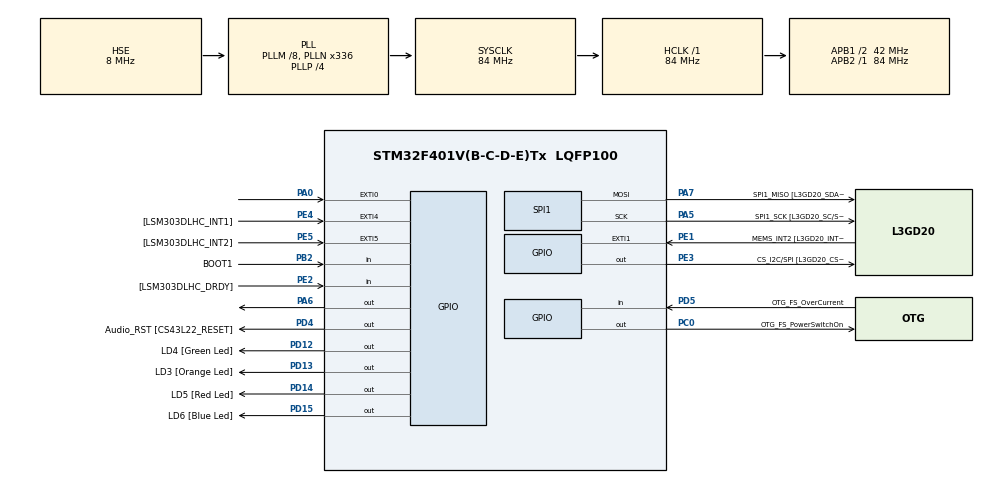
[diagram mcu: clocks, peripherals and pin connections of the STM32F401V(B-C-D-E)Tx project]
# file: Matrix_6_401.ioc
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Mcu.Family=STM32F4
Mcu.Name=STM32F401V(B-C-D-E)Tx
Mcu.Package=LQFP100
NVIC.EXTI0_IRQn=true\:1\:0\:true
NVIC.PriorityGroup=NVIC_PRIORITYGROUP_4
NVIC.TIM1_BRK_TIM9_IRQn=true\:1\:0\:true
NVIC.TIM1_TRG_COM_TIM11_IRQn=true\:2\:0\:true
NVIC.TIM1_UP_TIM10_IRQn=true\:3\:0\:true
PA0-WKUP.GPIO_ModeDefaultEXTI=GPIO_MODE_IT_RISING
PA0-WKUP.GPIO_PuPd=GPIO_NOPULL
PA0-WKUP.Signal=GPXTI0
PA10.GPIO_Label=OTG_FS_ID
PA10.GPIO_Mode=GPIO_MODE_AF_PP
PA10.GPIO_PuPd=GPIO_NOPULL
PA10.GPIO_Speed=GPIO_SPEED_LOW
PA10.Signal=USB_OTG_FS_ID
PA11.GPIO_Label=OTG_FS_DM
PA11.GPIO_Mode=GPIO_MODE_AF_PP
PA11.GPIO_PuPd=GPIO_NOPULL
PA11.GPIO_Speed=GPIO_SPEED_LOW
PA11.Signal=USB_OTG_FS_DM
PA12.GPIO_Label=OTG_FS_DP
PA12.GPIO_Mode=GPIO_MODE_AF_PP
PA12.GPIO_PuPd=GPIO_NOPULL
PA12.GPIO_Speed=GPIO_SPEED_LOW
PA12.Signal=USB_OTG_FS_DP
PA13.GPIO_Label=SWDIO
PA13.Mode=Trace-Asynchronous_SW
PA13.Signal=SYS_JTMS-SWDIO
PA14.GPIO_Label=SWCLK
PA14.Mode=Trace-Asynchronous_SW
PA14.Signal=SYS_JTCK-SWCLK
PA4.GPIO_Label=I2S3_WS [CS43L22_LRCK]
PA4.GPIO_Mode=GPIO_MODE_AF_PP
PA4.GPIO_PuPd=GPIO_NOPULL
PA4.GPIO_Speed=GPIO_SPEED_LOW
PA4.Signal=I2S3_WS
PA5.GPIO_Label=SPI1_SCK [L3GD20_SC/SPC]
PA5.GPIO_Mode=GPIO_MODE_AF_PP
PA5.GPIO_PuPd=GPIO_NOPULL
PA5.GPIO_Speed=GPIO_SPEED_LOW
PA5.Mode=TX_Only_Simplex_Unidirect_Master
PA5.Signal=SPI1_SCK
PA6.Signal=GPIO_Output
PA7.GPIO_Label=SPI1_MISO [L3GD20_SDA/SDI/SDO]
PA7.GPIO_Mode=GPIO_MODE_AF_PP
PA7.GPIO_PuPd=GPIO_NOPULL
PA7.GPIO_Speed=GPIO_SPEED_LOW
PA7.Mode=TX_Only_Simplex_Unidirect_Master
PA7.Signal=SPI1_MOSI
PA9.GPIO_Label=VBUS_FS
PA9.GPIO_Mode=GPIO_MODE_INPUT
PA9.GPIO_PuPd=GPIO_NOPULL
PA9.Signal=USB_OTG_FS_VBUS
PB10.GPIO_Label=CLK_IN [MP45DT02_CLK]
PB10.GPIO_Mode=GPIO_MODE_AF_PP
PB10.GPIO_PuPd=GPIO_NOPULL
PB10.GPIO_Speed=GPIO_SPEED_LOW
PB10.Signal=I2S2_CK
PB12.Signal=I2S2_WS
PB2/BOOT1.GPIO_Label=BOOT1
PB2/BOOT1.GPIO_Mode=GPIO_MODE_INPUT
PB2/BOOT1.GPIO_PuPd=GPIO_NOPULL
PB2/BOOT1.Signal=GPIO_Input
PB3.GPIO_Label=SWO
PB3.Mode=Trace-Asynchronous_SW
PB3.Signal=SYS_JTDO-SWO
PB6.GPIO_Label=Audio_SCL [CS43L22_SCL]
PB6.GPIO_Mode=GPIO_MODE_AF_OD
PB6.GPIO_PuPd=GPIO_NOPULL
PB6.GPIO_PuPdOD=GPIO_PULLUP
PB6.GPIO_Speed=GPIO_SPEED_LOW
PB6.Signal=I2C1_SCL
PB9.GPIO_Label=Audio_SDA [CS43L22_SDA]
PB9.GPIO_Mode=GPIO_MODE_AF_OD
PB9.GPIO_PuPd=GPIO_NOPULL
PB9.GPIO_PuPdOD=GPIO_PULLUP
PB9.GPIO_Speed=GPIO_SPEED_LOW
PB9.Signal=I2C1_SDA
PC0.GPIO_Label=OTG_FS_PowerSwitchOn
PC0.GPIO_ModeDefaultOutputPP=GPIO_MODE_OUTPUT_PP
PC0.GPIO_PuPd=GPIO_NOPULL
PC0.GPIO_Speed=GPIO_SPEED_LOW
PC0.Signal=GPIO_Output
PC10.GPIO_Label=I2S3_SCK [CS43L22_SCLK]
PC10.GPIO_Mode=GPIO_MODE_AF_PP
PC10.GPIO_PuPd=GPIO_NOPULL
PC10.GPIO_Speed=GPIO_SPEED_LOW
PC10.Signal=I2S3_CK
PC12.GPIO_Label=I2S3_SD [CS43L22_SDIN]
PC12.GPIO_Mode=GPIO_MODE_AF_PP
PC12.GPIO_PuPd=GPIO_NOPULL
PC12.GPIO_Speed=GPIO_SPEED_LOW
PC12.Signal=I2S3_SD
PC14-OSC32_IN.GPIO_Label=PC14-OSC32_IN
PC14-OSC32_IN.Signal=RCC_OSC32_IN
PC15-OSC32_OUT.GPIO_Label=PC15-OSC32_OUT
PC15-OSC32_OUT.Signal=RCC_OSC32_OUT
PC3.GPIO_Label=PDM_OUT [MP45DT02_DOUT]
PC3.GPIO_Mode=GPIO_MODE_AF_PP
PC3.GPIO_PuPd=GPIO_NOPULL
PC3.GPIO_Speed=GPIO_SPEED_LOW
PC3.Signal=I2S2_SD
PC7.GPIO_Label=I2S3_MCK [CS43L22_MCLK]
PC7.GPIO_Mode=GPIO_MODE_AF_PP
PC7.GPIO_PuPd=GPIO_NOPULL
PC7.GPIO_Speed=GPIO_SPEED_LOW
PC7.Signal=I2S3_MCK
PD12.GPIO_Label=LD4 [Green Led]
PD12.GPIO_ModeDefaultOutputPP=GPIO_MODE_OUTPUT_PP
PD12.GPIO_PuPd=GPIO_NOPULL
PD12.GPIO_Speed=GPIO_SPEED_LOW
PD12.Signal=GPIO_Output
PD13.GPIO_Label=LD3 [Orange Led]
PD13.GPIO_ModeDefaultOutputPP=GPIO_MODE_OUTPUT_PP
PD13.GPIO_PuPd=GPIO_NOPULL
PD13.GPIO_Speed=GPIO_SPEED_LOW
PD13.Signal=GPIO_Output
PD14.GPIO_Label=LD5 [Red Led]
PD14.GPIO_ModeDefaultOutputPP=GPIO_MODE_OUTPUT_PP
PD14.GPIO_PuPd=GPIO_NOPULL
PD14.GPIO_Speed=GPIO_SPEED_LOW
PD14.Signal=GPIO_Output
PD15.GPIO_Label=LD6 [Blue Led]
PD15.GPIO_ModeDefaultOutputPP=GPIO_MODE_OUTPUT_PP
PD15.GPIO_PuPd=GPIO_NOPULL
PD15.GPIO_Speed=GPIO_SPEED_LOW
PD15.Signal=GPIO_Output
PD4.GPIO_Label=Audio_RST [CS43L22_RESET]
PD4.GPIO_ModeDefaultOutputPP=GPIO_MODE_OUTPUT_PP
PD4.GPIO_PuPd=GPIO_NOPULL
PD4.GPIO_Speed=GPIO_SPEED_LOW
PD4.Signal=GPIO_Output
PD5.GPIO_Label=OTG_FS_OverCurrent
PD5.GPIO_Mode=GPIO_MODE_INPUT
PD5.GPIO_PuPd=GPIO_NOPULL
PD5.Signal=GPIO_Input
PE1.GPIO_Label=MEMS_INT2 [L3GD20_INT2]
PE1.GPIO_ModeDefaultEXTI=GPIO_MODE_EVT_RISING
PE1.GPIO_PuPd=GPIO_NOPULL
PE1.Signal=GPXTI1
PE2.GPIO_Label=[LSM303DLHC_DRDY]
PE2.GPIO_Mode=GPIO_MODE_INPUT
PE2.GPIO_PuPd=GPIO_NOPULL
PE2.Signal=GPIO_Input
PE3.GPIO_Label=CS_I2C/SPI [L3GD20_CS_I2C/SPI]
PE3.GPIO_ModeDefaultOutputPP=GPIO_MODE_OUTPUT_PP
PE3.GPIO_PuPd=GPIO_NOPULL
PE3.GPIO_Speed=GPIO_SPEED_LOW
PE3.Signal=GPIO_Output
PE4.GPIO_Label=[LSM303DLHC_INT1]
PE4.GPIO_ModeDefaultEXTI=GPIO_MODE_EVT_RISING
PE4.GPIO_PuPd=GPIO_NOPULL
PE4.Signal=GPXTI4
PE5.GPIO_Label=[LSM303DLHC_INT2]
PE5.GPIO_ModeDefaultEXTI=GPIO_MODE_EVT_RISING
PE5.GPIO_PuPd=GPIO_NOPULL
PE5.Signal=GPXTI5
PH0\ -\ OSC_IN.GPIO_Label=PH0-OSC_IN
PH0\ -\ OSC_IN.Mode=HSE-External-Oscillator
PH0\ -\ OSC_IN.Signal=RCC_OSC_IN
PH1\ -\ OSC_OUT.GPIO_Label=PH1-OSC_OUT
PH1\ -\ OSC_OUT.Mode=HSE-External-Oscillator
PH1\ -\ OSC_OUT.Signal=RCC_OSC_OUT
ProjectManager.TargetToolchain=EWARM 6.70
RCC.48MHZClocksFreq_Value=48000000
RCC.AHBFreq_Value=84000000
RCC.APB1CLKDivider=RCC_HCLK_DIV2
RCC.APB1Freq_Value=42000000
RCC.APB1TimFreq_Value=84000000
RCC.APB2Freq_Value=84000000
RCC.APB2TimFreq_Value=84000000
RCC.CortexFreq_Value=10500000
RCC.HCLKFreq_Value=84000000
RCC.HSE_VALUE=8000000
RCC.HSI_VALUE=16000000
RCC.LSE_VALUE=32768
RCC.PLLM=8
RCC.PLLN=336
RCC.PLLP=RCC_PLLP_DIV4
RCC.PLLQ=7
RCC.PLLSourceVirtual=RCC_PLLSOURCE_HSE
RCC.SYSCLKFreq_VALUE=84000000
RCC.SYSCLKSource=RCC_SYSCLKSOURCE_PLLCLK
RCC.VCOOutputFreq_Value=336000000
SPI1.BaudRatePrescaler-TX_Only_Simplex_Unidirect_Master=SPI_BAUDRATEPRESCALER_4
SPI1.CalculateBaudRate-TX_Only_Simplex_Unidirect_Master=21.0 MBits/s
SPI1.FirstBit-TX_Only_Simplex_Unidirect_Master=SPI_FIRSTBIT_LSB
SPI1.Mode-TX_Only_Simplex_Unidirect_Master=SPI_MODE_MASTER
TIM10.ClockDivision=TIM_CLOCKDIVISION_DIV1
TIM10.Period=10000
TIM10.Prescaler=4
TIM11.Period=60000
TIM11.Prescaler=100
TIM9.Period=20000
TIM9.Prescaler=8400
VP_TIM10_VS_ClockSourceINT.Mode=Enable_Timer
VP_TIM11_VS_ClockSourceINT.Mode=Enable_Timer
VP_TIM9_VS_ClockSourceINT.Mode=Internal

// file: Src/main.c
/**
  ******************************************************************************
  * File Name          : main.c
  * Date               : 30/01/2015 15:15:45
  * Description        : Main program body
  ******************************************************************************
  *
  * COPYRIGHT(c) 2015 STMicroelectronics
  *
  * Redistribution and use in source and binary forms, with or without modification,
  * are permitted provided that the following conditions are met:
  *   1. Redistributions of source code must retain the above copyright notice,
  *      this list of conditions and the following disclaimer.
  *   2. Redistributions in binary form must reproduce the above copyright notice,
  *      this list of conditions and the following disclaimer in the documentation
  *      and/or other materials provided with the distribution.
  *   3. Neither the name of STMicroelectronics nor the names of its contributors
  *      may be used to endorse or promote products derived from this software
  *      without specific prior written permission.
  *
  * THIS SOFTWARE IS PROVIDED BY THE COPYRIGHT HOLDERS AND CONTRIBUTORS "AS IS"
  * AND ANY EXPRESS OR IMPLIED WARRANTIES, INCLUDING, BUT NOT LIMITED TO, THE
  * IMPLIED WARRANTIES OF MERCHANTABILITY AND FITNESS FOR A PARTICULAR PURPOSE ARE
  * DISCLAIMED. IN NO EVENT SHALL THE COPYRIGHT HOLDER OR CONTRIBUTORS BE LIABLE
  * FOR ANY DIRECT, INDIRECT, INCIDENTAL, SPECIAL, EXEMPLARY, OR CONSEQUENTIAL
  * DAMAGES (INCLUDING, BUT NOT LIMITED TO, PROCUREMENT OF SUBSTITUTE GOODS OR
  * SERVICES; LOSS OF USE, DATA, OR PROFITS; OR BUSINESS INTERRUPTION) HOWEVER
  * CAUSED AND ON ANY THEORY OF LIABILITY, WHETHER IN CONTRACT, STRICT LIABILITY,
  * OR TORT (INCLUDING NEGLIGENCE OR OTHERWISE) ARISING IN ANY WAY OUT OF THE USE
  * OF THIS SOFTWARE, EVEN IF ADVISED OF THE POSSIBILITY OF SUCH DAMAGE.
  *
  ******************************************************************************
  */

#include "stm32f4xx_hal.h"

/* USER CODE BEGIN Includes */
#include "CHARS.h"
/* USER CODE END Includes */

SPI_HandleTypeDef hspi1;

TIM_HandleTypeDef htim9;
TIM_HandleTypeDef htim10;
TIM_HandleTypeDef htim11;

/* USER CODE BEGIN PV */
static __IO uint32_t TimingDelay;  //home work

char data_An[8] = {0x7F,0xBF,0xDF,0xEF,0xF7,0xFB,0xFD,0xFE};
char data_Gr[8];
char data_Rd[8];
char data_Bl[8];
char char_Play[30][2];
uint8_t pData[24];
char bufferData [8][4];

/* USER CODE END PV */

void SystemClock_Config(void);
static void MX_GPIO_Init(void);
static void MX_SPI1_Init(void);
static void MX_TIM9_Init(void);
static void MX_TIM10_Init(void);
static void MX_TIM11_Init(void);

/* USER CODE BEGIN PFP */
void Delay_ms(uint32_t ms)// HOME WORK
{
  volatile uint32_t nCount;// HOME WORK
  HAL_RCC_GetSysClockFreq ();// HOME WORK
  nCount = (HAL_RCC_GetHCLKFreq() /10000) * ms;// HOME WORK
  for (; nCount !=0; nCount--);// HOME WORK
}

/*Инициализация функции формирования посылки*/
void create_pData(int cntLn)
{
  pData[0] = bufferData[cntLn][0];
  pData[1] = bufferData[cntLn][1];
  pData[2] = bufferData[cntLn][2];
  pData[3] = bufferData[cntLn][3];
  pData[4] = bufferData[cntLn][0];
  pData[5] = bufferData[cntLn][1];
  pData[6] = bufferData[cntLn][2];
  pData[7] = bufferData[cntLn][3];
  pData[8] = bufferData[cntLn][0];
  pData[9] = bufferData[cntLn][1];
  pData[10] = bufferData[cntLn][2];
  pData[11] = bufferData[cntLn][3];
  pData[12] = bufferData[cntLn][0];
  pData[13] = bufferData[cntLn][1];
  pData[14] = bufferData[cntLn][2];
  pData[15] = bufferData[cntLn][3];
  pData[16] = bufferData[cntLn][0];
  pData[17] = bufferData[cntLn][1];
  pData[18] = bufferData[cntLn][2];
  pData[19] = bufferData[cntLn][3];
  pData[20] = bufferData[cntLn][0];
  pData[21] = bufferData[cntLn][1];
  pData[22] = bufferData[cntLn][2];
  pData[23] = bufferData[cntLn][3];
}

/*Инициализация функции формирования масива изображения*/
void create_bufferData(void)
{
  for (int j=0; j <=7 ; j++)
  {
    bufferData[j][0] = data_An[j];
    bufferData[j][1] = data_Gr[j];
    bufferData[j][2] = data_Rd[j];
    bufferData[j][3] = data_Bl[j];
  }
 }

/*Инициализация функции отправки данных*/
void send_Data(int cntLn)
{
  create_bufferData();
  create_pData(cntLn);
  HAL_SPI_Transmit(&hspi1, pData, 24, 1);
  HAL_GPIO_WritePin(GPIOA, GPIO_PIN_6,GPIO_PIN_SET);
  HAL_GPIO_WritePin(GPIOA, GPIO_PIN_6,GPIO_PIN_RESET);
}

/*Инициализация функции очистки изображения*/
void zero_matrix(void)
{
  for (int i=0; i<=7; i++)
  {
  data_Gr[i] = 0xFF;
  data_Rd[i] = 0xFF;
  data_Bl[i] = 0xFF;
  }
}

/*Инициализация функци отрисовки буквы нужного цвета*/
void writte_Char(int colour, int cntCh)
{
switch(colour)
    {
    case GREEN:
      {
        data_Gr[char_Play[cntCh+1][0]] = char_Play[cntCh+1][1];
        break;
      }
    case RED:
      {
        data_Rd[char_Play[cntCh+1][0]] = char_Play[cntCh+1][1];
        break;
      }
    case BLUE:
      {
        data_Bl[char_Play[cntCh+1][0]] = char_Play[cntCh+1][1];
        break;
      }
    case YELLOW:
      {
        data_Gr[char_Play[cntCh+1][0]] = char_Play[cntCh+1][1];
        data_Rd[char_Play[cntCh+1][0]] = char_Play[cntCh+1][1];
        break;
      }
    case MAGENTA:
      {
        data_Rd[char_Play[cntCh+1][0]] = char_Play[cntCh+1][1];
        data_Bl[char_Play[cntCh+1][0]] = char_Play[cntCh+1][1];
        break;
      }
    case CYAN:
      {
        data_Gr[char_Play[cntCh+1][0]] = char_Play[cntCh+1][1];
        data_Bl[char_Play[cntCh+1][0]] = char_Play[cntCh+1][1];
        break;
      }
    case WHITE:
      {
        data_Gr[char_Play[cntCh+1][0]] = char_Play[cntCh+1][1];
        data_Bl[char_Play[cntCh+1][0]] = char_Play[cntCh+1][1];
        data_Rd[char_Play[cntCh+1][0]] = char_Play[cntCh+1][1];
        break;
      }
    default:
      zero_matrix();
    }
  }

/*Инициализация функции присвоения масиву вывода выбранной буквы*/
void set_Char (char *letter, int i, int j)
{
  for (int k = 0; k < j; k++)
  {
    for (int z = 0; z < i; z++)
    {
      char_Play[k][z] = letter[(i*k)+z];
    }
  }
}

/*????Инициализация функции изменения цвета*/
/*void changecolour(int cntC)
{
  switch(cntC)
  {
  case 0:
    {
      setcolour = GREEN;
      break;
    }
  case 1:
    {
      setcolour = RED;
      break;
    }
  case 2:
    {
      setcolour = BLUE;
      break;
    }
  case 3:
    {
      setcolour = YELLOW;
      break;
    }
  case 4:
    {
      setcolour = MAGENTA;
      break;
    }
  case 5:
    {
      setcolour = CYAN;
      break;
    }
  case 6:
    {
      setcolour = WHITE;
      break;
    }
  default:
    __NOP();
  }
}*/
/* USER CODE END PFP */

int main(void)
{

  /* MCU Configuration----------------------------------------------------------*/

  /* Reset of all peripherals, Initializes the Flash interface and the Systick. */
  HAL_Init();

  /* Configure the system clock */
  SystemClock_Config();

  /* Initialize all configured peripherals */
  MX_GPIO_Init();
  MX_SPI1_Init();
  MX_TIM9_Init();
  MX_TIM10_Init();
  MX_TIM11_Init();

  /* USER CODE BEGIN 2 */
  HAL_TIM_Base_Start_IT(&htim9);
  HAL_TIM_Base_Start_IT(&htim10);
  HAL_TIM_Base_Start_IT(&htim11);
  /* USER CODE END 2 */

  /* USER CODE BEGIN 3 */
  /* Infinite loop */
  while (1)
  {
GPIOD->BSRRL |= 0xF000;// HOME WORK
Delay_ms (1000);// HOME WORK
GPIOD->BSRRH |= 0xF000; // HOME WORK
Delay_ms (1000);// HOME WORK
  }
  /* USER CODE END 3 */

}

/** System Clock Configuration
*/
void SystemClock_Config(void)
{

  RCC_OscInitTypeDef RCC_OscInitStruct;
  RCC_ClkInitTypeDef RCC_ClkInitStruct;

  __PWR_CLK_ENABLE();

  __HAL_PWR_VOLTAGESCALING_CONFIG(PWR_REGULATOR_VOLTAGE_SCALE2);

  RCC_OscInitStruct.OscillatorType = RCC_OSCILLATORTYPE_HSE;
  RCC_OscInitStruct.HSEState = RCC_HSE_ON;
  RCC_OscInitStruct.PLL.PLLState = RCC_PLL_ON;
  RCC_OscInitStruct.PLL.PLLSource = RCC_PLLSOURCE_HSE;
  RCC_OscInitStruct.PLL.PLLM = 8;
  RCC_OscInitStruct.PLL.PLLN = 336;
  RCC_OscInitStruct.PLL.PLLP = RCC_PLLP_DIV4;
  RCC_OscInitStruct.PLL.PLLQ = 7;
  HAL_RCC_OscConfig(&RCC_OscInitStruct);

  RCC_ClkInitStruct.ClockType = RCC_CLOCKTYPE_SYSCLK|RCC_CLOCKTYPE_PCLK1;
  RCC_ClkInitStruct.SYSCLKSource = RCC_SYSCLKSOURCE_PLLCLK;
  RCC_ClkInitStruct.AHBCLKDivider = RCC_SYSCLK_DIV1;
  RCC_ClkInitStruct.APB1CLKDivider = RCC_HCLK_DIV2;
  RCC_ClkInitStruct.APB2CLKDivider = RCC_HCLK_DIV1;
  HAL_RCC_ClockConfig(&RCC_ClkInitStruct, FLASH_LATENCY_2);

}

/* SPI1 init function */
void MX_SPI1_Init(void)
{

  hspi1.Instance = SPI1;
  hspi1.Init.Mode = SPI_MODE_MASTER;
  hspi1.Init.Direction = SPI_DIRECTION_2LINES;
  hspi1.Init.DataSize = SPI_DATASIZE_8BIT;
  hspi1.Init.CLKPolarity = SPI_POLARITY_LOW;
  hspi1.Init.CLKPhase = SPI_PHASE_1EDGE;
  hspi1.Init.NSS = SPI_NSS_SOFT;
  hspi1.Init.BaudRatePrescaler = SPI_BAUDRATEPRESCALER_4;
  hspi1.Init.FirstBit = SPI_FIRSTBIT_LSB;
  hspi1.Init.TIMode = SPI_TIMODE_DISABLED;
  hspi1.Init.CRCCalculation = SPI_CRCCALCULATION_DISABLED;
  HAL_SPI_Init(&hspi1);

}

/* TIM9 init function */
void MX_TIM9_Init(void)
{

  TIM_ClockConfigTypeDef sClockSourceConfig;

  htim9.Instance = TIM9;
  htim9.Init.Prescaler = 8400;
  htim9.Init.CounterMode = TIM_COUNTERMODE_UP;
  htim9.Init.Period = 20000;
  htim9.Init.ClockDivision = TIM_CLOCKDIVISION_DIV1;
  HAL_TIM_Base_Init(&htim9);

  sClockSourceConfig.ClockSource = TIM_CLOCKSOURCE_INTERNAL;
  HAL_TIM_ConfigClockSource(&htim9, &sClockSourceConfig);

}

/* TIM10 init function */
void MX_TIM10_Init(void)
{

  htim10.Instance = TIM10;
  htim10.Init.Prescaler = 4;
  htim10.Init.CounterMode = TIM_COUNTERMODE_UP;
  htim10.Init.Period = 10000;
  htim10.Init.ClockDivision = TIM_CLOCKDIVISION_DIV1;
  HAL_TIM_Base_Init(&htim10);

}

/* TIM11 init function */
void MX_TIM11_Init(void)
{

  htim11.Instance = TIM11;
  htim11.Init.Prescaler = 100;
  htim11.Init.CounterMode = TIM_COUNTERMODE_UP;
  htim11.Init.Period = 60000;
  htim11.Init.ClockDivision = TIM_CLOCKDIVISION_DIV1;
  HAL_TIM_Base_Init(&htim11);

}

/** Configure pins as
        * Analog
        * Input
        * Output
        * EVENT_OUT
        * EXTI
     PC3   ------> I2S2_SD
     PA4   ------> I2S3_WS
     PB10   ------> I2S2_CK
     PB12   ------> I2S2_WS
     PC7   ------> I2S3_MCK
     PA9   ------> USB_OTG_FS_VBUS
     PA10   ------> USB_OTG_FS_ID
     PA11   ------> USB_OTG_FS_DM
     PA12   ------> USB_OTG_FS_DP
     PC10   ------> I2S3_CK
     PC12   ------> I2S3_SD
     PB6   ------> I2C1_SCL
     PB9   ------> I2C1_SDA
*/
void MX_GPIO_Init(void)
{

  GPIO_InitTypeDef GPIO_InitStruct;

  /* GPIO Ports Clock Enable */
  __GPIOE_CLK_ENABLE();
  __GPIOC_CLK_ENABLE();
  __GPIOH_CLK_ENABLE();
  __GPIOA_CLK_ENABLE();
  __GPIOB_CLK_ENABLE();
  __GPIOD_CLK_ENABLE();

  /*Configure GPIO pin : PE2 */
  GPIO_InitStruct.Pin = GPIO_PIN_2;
  GPIO_InitStruct.Mode = GPIO_MODE_INPUT;
  GPIO_InitStruct.Pull = GPIO_NOPULL;
  HAL_GPIO_Init(GPIOE, &GPIO_InitStruct);

  /*Configure GPIO pin : PE3 */
  GPIO_InitStruct.Pin = GPIO_PIN_3;
  GPIO_InitStruct.Mode = GPIO_MODE_OUTPUT_PP;
  GPIO_InitStruct.Pull = GPIO_NOPULL;
  GPIO_InitStruct.Speed = GPIO_SPEED_LOW;
  HAL_GPIO_Init(GPIOE, &GPIO_InitStruct);

  /*Configure GPIO pins : PE4 PE5 PE1 */
  GPIO_InitStruct.Pin = GPIO_PIN_4|GPIO_PIN_5|GPIO_PIN_1;
  GPIO_InitStruct.Mode = GPIO_MODE_EVT_RISING;
  GPIO_InitStruct.Pull = GPIO_NOPULL;
  HAL_GPIO_Init(GPIOE, &GPIO_InitStruct);

  /*Configure GPIO pin : PC0 */
  GPIO_InitStruct.Pin = GPIO_PIN_0;
  GPIO_InitStruct.Mode = GPIO_MODE_OUTPUT_PP;
  GPIO_InitStruct.Pull = GPIO_NOPULL;
  GPIO_InitStruct.Speed = GPIO_SPEED_LOW;
  HAL_GPIO_Init(GPIOC, &GPIO_InitStruct);

  /*Configure GPIO pin : PC3 */
  GPIO_InitStruct.Pin = GPIO_PIN_3;
  GPIO_InitStruct.Mode = GPIO_MODE_AF_PP;
  GPIO_InitStruct.Pull = GPIO_NOPULL;
  GPIO_InitStruct.Speed = GPIO_SPEED_LOW;
  GPIO_InitStruct.Alternate = GPIO_AF5_SPI2;
  HAL_GPIO_Init(GPIOC, &GPIO_InitStruct);

  /*Configure GPIO pin : PA0 */
  GPIO_InitStruct.Pin = GPIO_PIN_0;
  GPIO_InitStruct.Mode = GPIO_MODE_IT_RISING;
  GPIO_InitStruct.Pull = GPIO_NOPULL;
  HAL_GPIO_Init(GPIOA, &GPIO_InitStruct);

  /*Configure GPIO pin : PA4 */
  GPIO_InitStruct.Pin = GPIO_PIN_4;
  GPIO_InitStruct.Mode = GPIO_MODE_AF_PP;
  GPIO_InitStruct.Pull = GPIO_NOPULL;
  GPIO_InitStruct.Speed = GPIO_SPEED_LOW;
  GPIO_InitStruct.Alternate = GPIO_AF6_SPI3;
  HAL_GPIO_Init(GPIOA, &GPIO_InitStruct);

  /*Configure GPIO pin : PA6 */
  GPIO_InitStruct.Pin = GPIO_PIN_6;
  GPIO_InitStruct.Mode = GPIO_MODE_OUTPUT_PP;
  GPIO_InitStruct.Pull = GPIO_NOPULL;
  GPIO_InitStruct.Speed = GPIO_SPEED_LOW;
  HAL_GPIO_Init(GPIOA, &GPIO_InitStruct);

  /*Configure GPIO pin : PB2 */
  GPIO_InitStruct.Pin = GPIO_PIN_2;
  GPIO_InitStruct.Mode = GPIO_MODE_INPUT;
  GPIO_InitStruct.Pull = GPIO_NOPULL;
  HAL_GPIO_Init(GPIOB, &GPIO_InitStruct);

  /*Configure GPIO pins : PB10 PB12 */
  GPIO_InitStruct.Pin = GPIO_PIN_10|GPIO_PIN_12;
  GPIO_InitStruct.Mode = GPIO_MODE_AF_PP;
  GPIO_InitStruct.Pull = GPIO_NOPULL;
  GPIO_InitStruct.Speed = GPIO_SPEED_LOW;
  GPIO_InitStruct.Alternate = GPIO_AF5_SPI2;
  HAL_GPIO_Init(GPIOB, &GPIO_InitStruct);

  /*Configure GPIO pins : PD12 PD13 PD14 PD15
                           PD4 */
  GPIO_InitStruct.Pin = GPIO_PIN_12|GPIO_PIN_13|GPIO_PIN_14|GPIO_PIN_15
                          |GPIO_PIN_4;
  GPIO_InitStruct.Mode = GPIO_MODE_OUTPUT_PP;
  GPIO_InitStruct.Pull = GPIO_NOPULL;
  GPIO_InitStruct.Speed = GPIO_SPEED_LOW;
  HAL_GPIO_Init(GPIOD, &GPIO_InitStruct);

  /*Configure GPIO pins : PC7 PC10 PC12 */
  GPIO_InitStruct.Pin = GPIO_PIN_7|GPIO_PIN_10|GPIO_PIN_12;
  GPIO_InitStruct.Mode = GPIO_MODE_AF_PP;
  GPIO_InitStruct.Pull = GPIO_NOPULL;
  GPIO_InitStruct.Speed = GPIO_SPEED_LOW;
  GPIO_InitStruct.Alternate = GPIO_AF6_SPI3;
  HAL_GPIO_Init(GPIOC, &GPIO_InitStruct);

  /*Configure GPIO pin : PA9 */
  GPIO_InitStruct.Pin = GPIO_PIN_9;
  GPIO_InitStruct.Mode = GPIO_MODE_INPUT;
  GPIO_InitStruct.Pull = GPIO_NOPULL;
  HAL_GPIO_Init(GPIOA, &GPIO_InitStruct);

  /*Configure GPIO pins : PA10 PA11 PA12 */
  GPIO_InitStruct.Pin = GPIO_PIN_10|GPIO_PIN_11|GPIO_PIN_12;
  GPIO_InitStruct.Mode = GPIO_MODE_AF_PP;
  GPIO_InitStruct.Pull = GPIO_NOPULL;
  GPIO_InitStruct.Speed = GPIO_SPEED_LOW;
  GPIO_InitStruct.Alternate = GPIO_AF10_OTG_FS;
  HAL_GPIO_Init(GPIOA, &GPIO_InitStruct);

  /*Configure GPIO pin : PD5 */
  GPIO_InitStruct.Pin = GPIO_PIN_5;
  GPIO_InitStruct.Mode = GPIO_MODE_INPUT;
  GPIO_InitStruct.Pull = GPIO_NOPULL;
  HAL_GPIO_Init(GPIOD, &GPIO_InitStruct);

  /*Configure GPIO pins : PB6 PB9 */
  GPIO_InitStruct.Pin = GPIO_PIN_6|GPIO_PIN_9;
  GPIO_InitStruct.Mode = GPIO_MODE_AF_OD;
  GPIO_InitStruct.Pull = GPIO_PULLUP;
  GPIO_InitStruct.Speed = GPIO_SPEED_LOW;
  GPIO_InitStruct.Alternate = GPIO_AF4_I2C1;
  HAL_GPIO_Init(GPIOB, &GPIO_InitStruct);

  /* EXTI interrupt init*/
  HAL_NVIC_SetPriority(EXTI0_IRQn, 1, 0);
  HAL_NVIC_EnableIRQ(EXTI0_IRQn);

}

/* USER CODE BEGIN 4 */

int counterChanges = 0;
int countLine = 7;
int counterLetters = 0;
int setcolour = 0;

void HAL_TIM_PeriodElapsedCallback(TIM_HandleTypeDef *htim)
{
  if (htim == &htim10)
  {
    if (countLine < 0)
    {
      countLine=7;
    }
    send_Data(countLine);
    countLine--;
  }
  else if (htim == &htim11)
  {
    /*char *y = lEtters[counterLetters-1];*/
    if (setcolour >= 7)
  {
    setcolour = 0;
  }
    if(counterChanges > (((char_Play[0][1])-1)+24))
    {
        zero_matrix();
        counterChanges = 0;
    }
    if (counterChanges < ((char_Play[0][1])-1))
    {
      writte_Char(setcolour, counterChanges);
    }
      counterChanges++;
  }
  else if (htim == &htim9)
  {
    if (counterLetters == 26) /*26 - количесвто елементов в масиве букв*/
    {
      counterLetters = 0;
    }
    char *p = lEtters[counterLetters];
    set_Char(p, (int)p[0], (int)p[1]);
    zero_matrix();
    setcolour++;
    counterChanges = 0;
    counterLetters++;

  }
}

void HAL_GPIO_EXTI_Callback(uint16_t GPIO_Pin0)
{

}
/* USER CODE END 4 */

/************************ (C) COPYRIGHT STMicroelectronics *****END OF FILE****/
